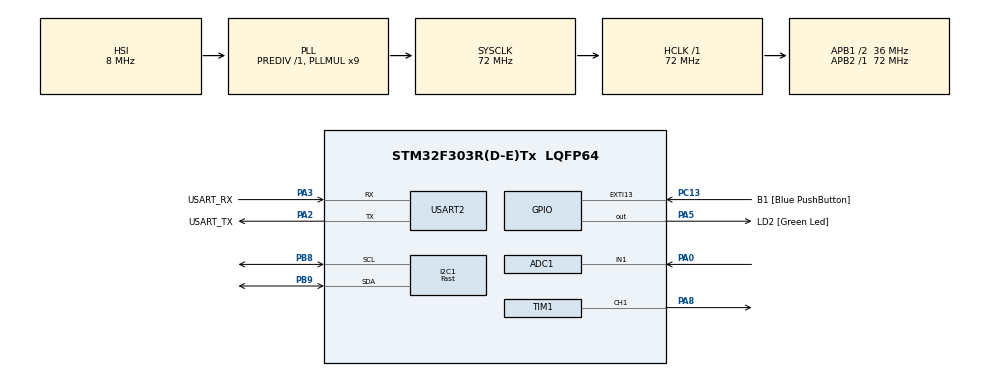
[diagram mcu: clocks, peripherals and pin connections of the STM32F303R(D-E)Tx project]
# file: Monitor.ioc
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ADC1.Channel-0\#ChannelRegularConversion=ADC_CHANNEL_1
ADC1.NbrOfConversionFlag=1
ADC1.Offset-0\#ChannelRegularConversion=0
ADC1.OffsetNumber-0\#ChannelRegularConversion=ADC_OFFSET_NONE
ADC1.Rank-0\#ChannelRegularConversion=1
ADC1.SamplingTime-0\#ChannelRegularConversion=ADC_SAMPLETIME_1CYCLE_5
ADC1.SamplingTimeOPAMP-0\#ChannelRegularConversion=ADC_SAMPLETIME_61CYCLES_5
ADC1.master=1
I2C1.I2C_Speed_Mode=I2C_Fast
I2C1.Timing=0x0010020A
Mcu.Family=STM32F3
Mcu.Name=STM32F303R(D-E)Tx
Mcu.Package=LQFP64
NVIC.PriorityGroup=NVIC_PRIORITYGROUP_0
PA0.Mode=IN1-Single-Ended
PA0.Signal=ADC1_IN1
PA13.GPIO_Label=TMS
PA13.Mode=Serial_Wire
PA13.Signal=SYS_JTMS-SWDIO
PA14.GPIO_Label=TCK
PA14.Mode=Serial_Wire
PA14.Signal=SYS_JTCK-SWCLK
PA2.GPIO_Label=USART_TX
PA2.GPIO_Mode=GPIO_MODE_AF_PP
PA2.GPIO_PuPd=GPIO_NOPULL
PA2.GPIO_Speed=GPIO_SPEED_FREQ_LOW
PA2.Mode=Asynchronous
PA2.Signal=USART2_TX
PA3.GPIO_Label=USART_RX
PA3.GPIO_Mode=GPIO_MODE_AF_PP
PA3.GPIO_PuPd=GPIO_NOPULL
PA3.GPIO_Speed=GPIO_SPEED_FREQ_LOW
PA3.Mode=Asynchronous
PA3.Signal=USART2_RX
PA5.GPIO_Label=LD2 [Green Led]
PA5.GPIO_Mode=GPIO_MODE_OUTPUT_PP
PA5.GPIO_PuPd=GPIO_NOPULL
PA5.GPIO_Speed=GPIO_SPEED_FREQ_LOW
PA5.Signal=GPIO_Output
PA8.Signal=S_TIM1_CH1
PB3.GPIO_Label=SWO
PB3.Signal=SYS_JTDO-TRACESWO
PB8.Mode=I2C
PB8.Signal=I2C1_SCL
PB9.Mode=I2C
PB9.Signal=I2C1_SDA
PC13.GPIO_Label=B1 [Blue PushButton]
PC13.GPIO_ModeDefaultEXTI=GPIO_MODE_IT_FALLING
PC13.Signal=GPXTI13
PC14-OSC32_IN.Mode=LSE-External-Oscillator
PC14-OSC32_IN.Signal=RCC_OSC32_IN
PC15-OSC32_OUT.Mode=LSE-External-Oscillator
PC15-OSC32_OUT.Signal=RCC_OSC32_OUT
PF0-OSC_IN.Mode=HSE-External-Clock-Source
PF0-OSC_IN.Signal=RCC_OSC_IN
PF1-OSC_OUT.Signal=RCC_OSC_OUT
ProjectManager.HeapSize=0x200
ProjectManager.StackSize=0x400
ProjectManager.TargetToolchain=CMake
RCC.AHBFreq_Value=72000000
RCC.APB1CLKDivider=RCC_HCLK_DIV2
RCC.APB1Freq_Value=36000000
RCC.APB1TimFreq_Value=72000000
RCC.APB2Freq_Value=72000000
RCC.APB2TimFreq_Value=72000000
RCC.CortexFreq_Value=72000000
RCC.HCLKFreq_Value=72000000
RCC.HSE_VALUE=8000000
RCC.HSI_VALUE=8000000
RCC.PLLM=8
RCC.PLLMUL=RCC_PLL_MUL9
RCC.PLLN=336
RCC.PLLP=RCC_PLLP_DIV4
RCC.PLLQ=7
RCC.RCC_PLLsource_Clock_Source_FROM_HSE=RCC_HSE_PREDIV_DIV2
RCC.SYSCLKFreq_VALUE=72000000
RCC.SYSCLKSourceVirtual=RCC_SYSCLKSOURCE_PLLCLK
RCC.USBFreq_Value=72000000
SH.S_TIM1_CH1.0=TIM1_CH1,PWM Generation1 CH1
TIM1.Channel-PWM\ Generation1\ CH1=TIM_CHANNEL_1
TIM1.Prescaler=71
USART2.VirtualMode-Asynchronous=VM_ASYNC
VP_TIM1_VS_ClockSourceINT.Mode=Internal
board=NUCLEO-F303RE

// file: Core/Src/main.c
/* USER CODE BEGIN Header */
/**
  ******************************************************************************
  * @file           : main.c
  * @brief          : Main program body
  ******************************************************************************
  * @attention
  *
  * Copyright (c) 2026 STMicroelectronics.
  * All rights reserved.
  *
  * This software is licensed under terms that can be found in the LICENSE file
  * in the root directory of this software component.
  * If no LICENSE file comes with this software, it is provided AS-IS.
  *
  ******************************************************************************
  */
/* USER CODE END Header */
#include "main.h"

/* USER CODE BEGIN Includes */
#include "ssd1306.h"
#include <stdio.h>
/* USER CODE END Includes */

ADC_HandleTypeDef hadc1;

I2C_HandleTypeDef hi2c1;

TIM_HandleTypeDef htim1;

UART_HandleTypeDef huart2;

void SystemClock_Config(void);
static void MX_GPIO_Init(void);
static void MX_ADC1_Init(void);
static void MX_I2C1_Init(void);
static void MX_TIM1_Init(void);
static void MX_USART2_UART_Init(void);

int main(void)
{

  /* MCU Configuration--------------------------------------------------------*/

  /* Reset of all peripherals, Initializes the Flash interface and the Systick. */
  HAL_Init();

  /* Configure the system clock */
  SystemClock_Config();

  /* Initialize all configured peripherals */
  MX_GPIO_Init();
  MX_ADC1_Init();
  MX_I2C1_Init();
  MX_TIM1_Init();
  MX_USART2_UART_Init();
  /* USER CODE BEGIN 2 */
  HAL_TIM_PWM_Start(&htim1, TIM_CHANNEL_1);
  SSD1306_Init();
  /* USER CODE END 2 */

  /* Infinite loop */
  while (1)
  {

    /* USER CODE BEGIN 3 */
    HAL_ADC_Start(&hadc1);
    HAL_ADC_PollForConversion(&hadc1, 10);
    uint32_t adc_val = HAL_ADC_GetValue(&hadc1);

    uint32_t servo_pulse = 500 + (adc_val * 2000 / 4095);
    __HAL_TIM_SET_COMPARE(&htim1, TIM_CHANNEL_1, servo_pulse);

    SSD1306_Fill(Black);

    SSD1306_SetCursor(0, 0);
    SSD1306_WriteString("SERVO SYSTEM", White);

    char screen_buffer[16];
    sprintf(screen_buffer, "Val: %lu", adc_val);
    SSD1306_SetCursor(0, 15);
    SSD1306_WriteString(screen_buffer, White);

    uint8_t bar_width = adc_val / 32;

    if (bar_width > 128) bar_width = 128;

    for(int x = 0; x < bar_width; x++) {
        for(int y = 30; y < 40; y++) {
            SSD1306_DrawPixel(x, y, White);
        }
    }

    SSD1306_UpdateScreen();
    HAL_Delay(50);
  }
  /* USER CODE END 3 */
}

void SystemClock_Config(void)
{
  RCC_OscInitTypeDef RCC_OscInitStruct = {0};
  RCC_ClkInitTypeDef RCC_ClkInitStruct = {0};
  RCC_PeriphCLKInitTypeDef PeriphClkInit = {0};

  /** Initializes the RCC Oscillators according to the specified parameters
  * in the RCC_OscInitTypeDef structure.
  */
  RCC_OscInitStruct.OscillatorType = RCC_OSCILLATORTYPE_HSI;
  RCC_OscInitStruct.HSIState = RCC_HSI_ON;
  RCC_OscInitStruct.HSICalibrationValue = RCC_HSICALIBRATION_DEFAULT;
  RCC_OscInitStruct.PLL.PLLState = RCC_PLL_ON;
  RCC_OscInitStruct.PLL.PLLSource = RCC_PLLSOURCE_HSI;
  RCC_OscInitStruct.PLL.PLLMUL = RCC_PLL_MUL9;
  RCC_OscInitStruct.PLL.PREDIV = RCC_PREDIV_DIV1;
  if (HAL_RCC_OscConfig(&RCC_OscInitStruct) != HAL_OK)
  {
    Error_Handler();
  }

  /** Initializes the CPU, AHB and APB buses clocks
  */
  RCC_ClkInitStruct.ClockType = RCC_CLOCKTYPE_HCLK|RCC_CLOCKTYPE_SYSCLK
                              |RCC_CLOCKTYPE_PCLK1|RCC_CLOCKTYPE_PCLK2;
  RCC_ClkInitStruct.SYSCLKSource = RCC_SYSCLKSOURCE_PLLCLK;
  RCC_ClkInitStruct.AHBCLKDivider = RCC_SYSCLK_DIV1;
  RCC_ClkInitStruct.APB1CLKDivider = RCC_HCLK_DIV2;
  RCC_ClkInitStruct.APB2CLKDivider = RCC_HCLK_DIV1;

  if (HAL_RCC_ClockConfig(&RCC_ClkInitStruct, FLASH_LATENCY_2) != HAL_OK)
  {
    Error_Handler();
  }
  PeriphClkInit.PeriphClockSelection = RCC_PERIPHCLK_USART2|RCC_PERIPHCLK_I2C1
                              |RCC_PERIPHCLK_TIM1|RCC_PERIPHCLK_ADC12;
  PeriphClkInit.Usart2ClockSelection = RCC_USART2CLKSOURCE_PCLK1;
  PeriphClkInit.Adc12ClockSelection = RCC_ADC12PLLCLK_DIV1;
  PeriphClkInit.I2c1ClockSelection = RCC_I2C1CLKSOURCE_HSI;
  PeriphClkInit.Tim1ClockSelection = RCC_TIM1CLK_HCLK;
  if (HAL_RCCEx_PeriphCLKConfig(&PeriphClkInit) != HAL_OK)
  {
    Error_Handler();
  }
}

static void MX_ADC1_Init(void)
{

  ADC_MultiModeTypeDef multimode = {0};
  ADC_ChannelConfTypeDef sConfig = {0};

  /** Common config
  */
  hadc1.Instance = ADC1;
  hadc1.Init.ClockPrescaler = ADC_CLOCK_ASYNC_DIV1;
  hadc1.Init.Resolution = ADC_RESOLUTION_12B;
  hadc1.Init.ScanConvMode = ADC_SCAN_DISABLE;
  hadc1.Init.ContinuousConvMode = DISABLE;
  hadc1.Init.DiscontinuousConvMode = DISABLE;
  hadc1.Init.ExternalTrigConvEdge = ADC_EXTERNALTRIGCONVEDGE_NONE;
  hadc1.Init.ExternalTrigConv = ADC_SOFTWARE_START;
  hadc1.Init.DataAlign = ADC_DATAALIGN_RIGHT;
  hadc1.Init.NbrOfConversion = 1;
  hadc1.Init.DMAContinuousRequests = DISABLE;
  hadc1.Init.EOCSelection = ADC_EOC_SINGLE_CONV;
  hadc1.Init.LowPowerAutoWait = DISABLE;
  hadc1.Init.Overrun = ADC_OVR_DATA_OVERWRITTEN;
  if (HAL_ADC_Init(&hadc1) != HAL_OK)
  {
    Error_Handler();
  }

  /** Configure the ADC multi-mode
  */
  multimode.Mode = ADC_MODE_INDEPENDENT;
  if (HAL_ADCEx_MultiModeConfigChannel(&hadc1, &multimode) != HAL_OK)
  {
    Error_Handler();
  }

  /** Configure Regular Channel
  */
  sConfig.Channel = ADC_CHANNEL_1;
  sConfig.Rank = ADC_REGULAR_RANK_1;
  sConfig.SingleDiff = ADC_SINGLE_ENDED;
  sConfig.SamplingTime = ADC_SAMPLETIME_1CYCLE_5;
  sConfig.OffsetNumber = ADC_OFFSET_NONE;
  sConfig.Offset = 0;
  if (HAL_ADC_ConfigChannel(&hadc1, &sConfig) != HAL_OK)
  {
    Error_Handler();
  }

}

static void MX_I2C1_Init(void)
{

  hi2c1.Instance = I2C1;
  hi2c1.Init.Timing = 0x0010020A;
  hi2c1.Init.OwnAddress1 = 0;
  hi2c1.Init.AddressingMode = I2C_ADDRESSINGMODE_7BIT;
  hi2c1.Init.DualAddressMode = I2C_DUALADDRESS_DISABLE;
  hi2c1.Init.OwnAddress2 = 0;
  hi2c1.Init.OwnAddress2Masks = I2C_OA2_NOMASK;
  hi2c1.Init.GeneralCallMode = I2C_GENERALCALL_DISABLE;
  hi2c1.Init.NoStretchMode = I2C_NOSTRETCH_DISABLE;
  if (HAL_I2C_Init(&hi2c1) != HAL_OK)
  {
    Error_Handler();
  }

  /** Configure Analogue filter
  */
  if (HAL_I2CEx_ConfigAnalogFilter(&hi2c1, I2C_ANALOGFILTER_ENABLE) != HAL_OK)
  {
    Error_Handler();
  }

  /** Configure Digital filter
  */
  if (HAL_I2CEx_ConfigDigitalFilter(&hi2c1, 0) != HAL_OK)
  {
    Error_Handler();
  }

}

static void MX_TIM1_Init(void)
{

  TIM_ClockConfigTypeDef sClockSourceConfig = {0};
  TIM_MasterConfigTypeDef sMasterConfig = {0};
  TIM_OC_InitTypeDef sConfigOC = {0};
  TIM_BreakDeadTimeConfigTypeDef sBreakDeadTimeConfig = {0};

  htim1.Instance = TIM1;
  htim1.Init.Prescaler = 71;
  htim1.Init.CounterMode = TIM_COUNTERMODE_UP;
  htim1.Init.Period = 65535;
  htim1.Init.ClockDivision = TIM_CLOCKDIVISION_DIV1;
  htim1.Init.RepetitionCounter = 0;
  htim1.Init.AutoReloadPreload = TIM_AUTORELOAD_PRELOAD_DISABLE;
  if (HAL_TIM_Base_Init(&htim1) != HAL_OK)
  {
    Error_Handler();
  }
  sClockSourceConfig.ClockSource = TIM_CLOCKSOURCE_INTERNAL;
  if (HAL_TIM_ConfigClockSource(&htim1, &sClockSourceConfig) != HAL_OK)
  {
    Error_Handler();
  }
  if (HAL_TIM_PWM_Init(&htim1) != HAL_OK)
  {
    Error_Handler();
  }
  sMasterConfig.MasterOutputTrigger = TIM_TRGO_RESET;
  sMasterConfig.MasterOutputTrigger2 = TIM_TRGO2_RESET;
  sMasterConfig.MasterSlaveMode = TIM_MASTERSLAVEMODE_DISABLE;
  if (HAL_TIMEx_MasterConfigSynchronization(&htim1, &sMasterConfig) != HAL_OK)
  {
    Error_Handler();
  }
  sConfigOC.OCMode = TIM_OCMODE_PWM1;
  sConfigOC.Pulse = 0;
  sConfigOC.OCPolarity = TIM_OCPOLARITY_HIGH;
  sConfigOC.OCNPolarity = TIM_OCNPOLARITY_HIGH;
  sConfigOC.OCFastMode = TIM_OCFAST_DISABLE;
  sConfigOC.OCIdleState = TIM_OCIDLESTATE_RESET;
  sConfigOC.OCNIdleState = TIM_OCNIDLESTATE_RESET;
  if (HAL_TIM_PWM_ConfigChannel(&htim1, &sConfigOC, TIM_CHANNEL_1) != HAL_OK)
  {
    Error_Handler();
  }
  sBreakDeadTimeConfig.OffStateRunMode = TIM_OSSR_DISABLE;
  sBreakDeadTimeConfig.OffStateIDLEMode = TIM_OSSI_DISABLE;
  sBreakDeadTimeConfig.LockLevel = TIM_LOCKLEVEL_OFF;
  sBreakDeadTimeConfig.DeadTime = 0;
  sBreakDeadTimeConfig.BreakState = TIM_BREAK_DISABLE;
  sBreakDeadTimeConfig.BreakPolarity = TIM_BREAKPOLARITY_HIGH;
  sBreakDeadTimeConfig.BreakFilter = 0;
  sBreakDeadTimeConfig.Break2State = TIM_BREAK2_DISABLE;
  sBreakDeadTimeConfig.Break2Polarity = TIM_BREAK2POLARITY_HIGH;
  sBreakDeadTimeConfig.Break2Filter = 0;
  sBreakDeadTimeConfig.AutomaticOutput = TIM_AUTOMATICOUTPUT_DISABLE;
  if (HAL_TIMEx_ConfigBreakDeadTime(&htim1, &sBreakDeadTimeConfig) != HAL_OK)
  {
    Error_Handler();
  }
  HAL_TIM_MspPostInit(&htim1);

}

static void MX_USART2_UART_Init(void)
{

  huart2.Instance = USART2;
  huart2.Init.BaudRate = 38400;
  huart2.Init.WordLength = UART_WORDLENGTH_8B;
  huart2.Init.StopBits = UART_STOPBITS_1;
  huart2.Init.Parity = UART_PARITY_NONE;
  huart2.Init.Mode = UART_MODE_TX_RX;
  huart2.Init.HwFlowCtl = UART_HWCONTROL_NONE;
  huart2.Init.OverSampling = UART_OVERSAMPLING_16;
  huart2.Init.OneBitSampling = UART_ONE_BIT_SAMPLE_DISABLE;
  huart2.AdvancedInit.AdvFeatureInit = UART_ADVFEATURE_NO_INIT;
  if (HAL_UART_Init(&huart2) != HAL_OK)
  {
    Error_Handler();
  }

}

static void MX_GPIO_Init(void)
{
  GPIO_InitTypeDef GPIO_InitStruct = {0};

  /* GPIO Ports Clock Enable */
  __HAL_RCC_GPIOC_CLK_ENABLE();
  __HAL_RCC_GPIOF_CLK_ENABLE();
  __HAL_RCC_GPIOA_CLK_ENABLE();
  __HAL_RCC_GPIOB_CLK_ENABLE();

  /*Configure GPIO pin Output Level */
  HAL_GPIO_WritePin(LD2_GPIO_Port, LD2_Pin, GPIO_PIN_RESET);

  /*Configure GPIO pin : B1_Pin */
  GPIO_InitStruct.Pin = B1_Pin;
  GPIO_InitStruct.Mode = GPIO_MODE_IT_FALLING;
  GPIO_InitStruct.Pull = GPIO_NOPULL;
  HAL_GPIO_Init(B1_GPIO_Port, &GPIO_InitStruct);

  /*Configure GPIO pin : LD2_Pin */
  GPIO_InitStruct.Pin = LD2_Pin;
  GPIO_InitStruct.Mode = GPIO_MODE_OUTPUT_PP;
  GPIO_InitStruct.Pull = GPIO_NOPULL;
  GPIO_InitStruct.Speed = GPIO_SPEED_FREQ_LOW;
  HAL_GPIO_Init(LD2_GPIO_Port, &GPIO_InitStruct);

}

void Error_Handler(void)
{
  __disable_irq();
  while (1)
  {
  }
}
